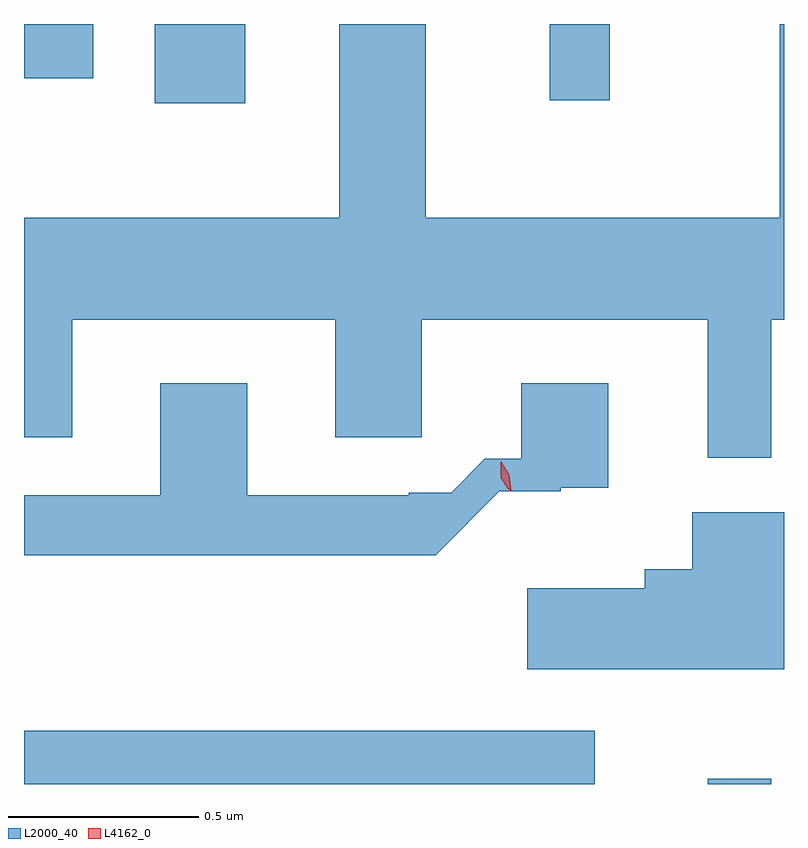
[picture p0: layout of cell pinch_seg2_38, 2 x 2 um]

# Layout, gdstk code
import gdstk
lib = gdstk.Library(unit=1e-6, precision=1e-09)
def R(c, l, rs):  # rectangles x0, y0, x1, y1
    for r in rs: c.add(gdstk.rectangle(r[:2], r[2:], *l))
def P(c, l, *ps):  # polygons
    for p in ps: c.add(gdstk.Polygon(p, *l))
L2000_40 = (2000, 40)
L4162_0 = (4162, 0)

pinch_seg2_38 = lib.new_cell('pinch_seg2_38')
R(pinch_seg2_38, L2000_40, [(845.062,1107.034,846.564,1107.174), (846.861,1107.034,847.029,1107.048), (845.406,1108.826,845.644,1109.034), (846.446,1108.833,846.604,1109.034), (845.062,1108.891,845.244,1109.034)])
P(pinch_seg2_38, L2000_40, [(847.029,1108.256),(847.062,1108.256),(847.062,1109.034),(847.051,1109.034),(847.051,1108.524),(846.119,1108.524),(846.119,1109.034),(845.891,1109.034),(845.891,1108.524),(845.062,1108.524),(845.062,1107.946),(845.189,1107.946),(845.189,1108.256),(845.881,1108.256),(845.881,1107.946),(846.109,1107.946),(846.109,1108.256),(846.861,1108.256),(846.861,1107.893),(847.029,1107.893)],
  [(846.313,1107.804),(846.475,1107.804),(846.475,1107.813),(846.599,1107.813),(846.599,1108.089),(846.371,1108.089),(846.371,1107.89),(846.275,1107.89),(846.186,1107.801),(846.075,1107.801),(846.075,1107.794),(845.649,1107.794),(845.649,1108.089),(845.421,1108.089),(845.421,1107.794),(845.062,1107.794),(845.062,1107.636),(846.145,1107.636)],
  [(847.062,1107.749),(846.821,1107.749),(846.821,1107.599),(846.696,1107.599),(846.696,1107.549),(846.386,1107.549),(846.386,1107.336),(847.062,1107.336)])
P(pinch_seg2_38, L4162_0, [(846.343,1107.805),(846.32,1107.841),(846.316,1107.883),(846.316,1107.884),(846.316,1107.884),(846.339,1107.848),(846.344,1107.805),(846.344,1107.805)],
  [(846.336,1107.81),(846.317,1107.84),(846.316,1107.876),(846.316,1107.877),(846.316,1107.877),(846.336,1107.846),(846.337,1107.81),(846.337,1107.81)])

lib.write_gds('pinch_seg2_38.gds')
